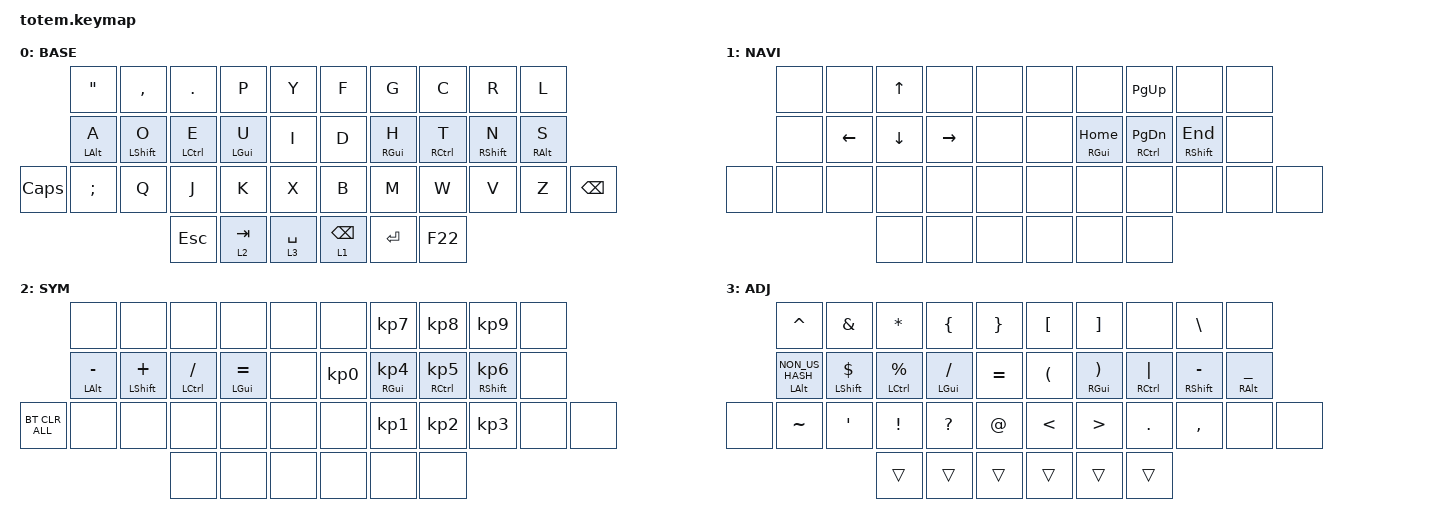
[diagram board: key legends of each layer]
//
//                                                        ▀▀▀▀▀     ▀▀▀▀▀          ▀▀█▀▀
//                                                        ▄▀▀▀▄  ▄  ▄▀▀▀▄  ▄  ▄▀▀▀▄  █  ▄▀▀▀▄
//                                                        █   █  █  █   █  █  █   █  █  █   █
//                                                         ▀▀▀   █   ▀▀▀   █   ▀▀▀   ▀   ▀▀▀
//                                                               █      ▄▄▄█▄▄▄    █   █  
//                                                               ▀      █  █  █     █▄█
//                                                             ▀▀▀▀▀    █  █  █      ▀
//                                                                      ▀  ▀  ▀
//
// ▄▄▄▄▄▄▄▄▄▄▄▄▄▄▄▄▄▄▄▄▄▄▄▄▄▄▄▄▄▄▄▄▄▄▄▄▄▄▄▄▄▄▄▄▄▄▄▄▄▄▄▄▄▄▄▄▄▄▄▄▄▄▄▄▄▄▄▄▄▄▄▄▄▄▄▄▄▄▄▄▄▄▄▄▄▄▄▄▄▄▄▄▄▄▄▄▄▄▄▄▄▄▄▄▄▄▄▄▄▄▄▄▄▄▄▄▄▄▄▄▄▄▄▄▄▄▄▄▄▄▄▄▄▄▄▄▄▄▄▄▄▄▄▄▄▄▄▄▄

#include <behaviors.dtsi>
#include <dt-bindings/zmk/bt.h>
#include <dt-bindings/zmk/keys.h>

#define BASE 0
#define NAV  1
#define SYM  2
#define ADJ  3

&mt {
    quick-tap-ms = <100>;
    global-quick-tap;
    flavor = "tap-preferred";
    tapping-term-ms = <170>;
};

/ {
    combos {
        compatible = "zmk,combos";

        combo_esc {
            timeout-ms = <50>;
            key-positions = <0 1>;
            bindings = <&kp ESC>;
        };
    };

    macros {
        gif: gif {
            label = "giphy";
            compatible = "zmk,behavior-macro";
            #binding-cells = <0>;
            bindings =
                <&macro_press>,
                <&kp LSHFT>,
                <&macro_tap>,
                <&kp N2>,
                <&macro_release>,
                <&kp LSHFT>,
                <&macro_tap>,
                <&kp G &kp I &kp F>;
        };
    };

    keymap {
        compatible = "zmk,keymap";

        // ▄▄▄▄▄▄▄▄▄▄▄▄▄▄▄▄▄▄▄▄▄▄▄▄▄▄▄▄▄▄▄▄▄▄▄▄▄▄▄▄▄▄▄▄▄▄▄▄▄▄▄▄▄▄▄▄▄▄▄▄▄▄▄▄▄▄▄▄▄▄▄▄▄▄▄▄▄▄▄▄▄▄▄▄▄▄▄▄▄▄▄▄▄▄▄▄▄▄▄▄▄▄▄▄▄▄▄▄▄▄▄▄▄▄▄▄▄▄▄▄▄▄▄▄▄▄▄▄▄▄▄▄▄▄▄▄▄▄▄▄▄▄▄▄▄▄▄▄▄

        base_layer {
            // ┏━━━━━━━━━━━━━━━━━━━━━━━━━━━━━━━━━━━━━━━┓

            label = "BASE";

            // ┗━━━━━━━━━━━━━━━━━━━━━━━━━━━━━━━━━━━━━━━┛
            //             ┏━━━━━━━━━━━┳━━━━━━━━━━━┳━━━━━━━━━━━┳━━━━━━━━━━━┳━━━━━━━━━━━┓   ┏━━━━━━━━━━━┳━━━━━━━━━━━┳━━━━━━━━━━━┳━━━━━━━━━━━┳━━━━━━━━━━━┓
            //             ┃     Q     ┃     W     ┃     F     ┃     P     ┃     G     ┃   ┃     J     ┃     L     ┃     U     ┃     Y     ┃     ;     ┃
            //             ┣━━━━━━━━━━━╋━━━━━━━━━━━╋━━━━━━━━━━━╋━━━━━━━━━━━╋━━━━━━━━━━━┫   ┣━━━━━━━━━━━╋━━━━━━━━━━━╋━━━━━━━━━━━╋━━━━━━━━━━━╋━━━━━━━━━━━┫
            //             ┃     A     ┃     R     ┃     S     ┃     T     ┃     D     ┃   ┃     H     ┃     N     ┃     E     ┃     I     ┃     O     ┃
            // ┏━━━━━━━━━━━╋━━━━━━━━━━━╋━━━━━━━━━━━╋━━━━━━━━━━━╋━━━━━━━━━━━╋━━━━━━━━━━━┫   ┣━━━━━━━━━━━╋━━━━━━━━━━━╋━━━━━━━━━━━╋━━━━━━━━━━━╋━━━━━━━━━━━╋━━━━━━━━━━━┓
            // ┃           ┃     Z     ┃     X     ┃     C     ┃     V     ┃     B     ┃   ┃     K     ┃     M     ┃     ,     ┃     .     ┃     /     ┃           ┃
            // ┗━━━━━━━━━━━┻━━━━━━━━━━━┻━━━━━━━━━━━╋━━━━━━━━━━━╋━━━━━━━━━━━╋━━━━━━━━━━━┫   ┣━━━━━━━━━━━╋━━━━━━━━━━━╋━━━━━━━━━━━╋━━━━━━━━━━━┻━━━━━━━━━━━┻━━━━━━━━━━━┛
            //                                     ┃           ┃    TAB    ┃    SPC    ┃   ┃   ENTER   ┃   BSPC    ┃           ┃
            //                                     ┗━━━━━━━━━━━┻━━━━━━━━━━━┻━━━━━━━━━━━┛   ┗━━━━━━━━━━━┻━━━━━━━━━━━┻━━━━━━━━━━━┛

            bindings = <
              &kp DOUBLE_QUOTES  &kp COMMA         &kp PERIOD   &kp P           &kp Y          &kp F            &kp G            &kp C        &kp R              &kp L
              &mt LALT A         &mt LEFT_SHIFT O  &mt LCTRL E  &mt LEFT_GUI U  &kp I          &kp D            &mt RIGHT_GUI H  &mt RCTRL T  &mt RIGHT_SHIFT N  &mt RIGHT_ALT S
&kp CAPSLOCK  &kp SEMICOLON      &kp Q             &kp J        &kp K           &kp X          &kp B            &kp M            &kp W        &kp V              &kp Z            &kp BACKSPACE
                                                   &kp ESCAPE   &lt 2 TAB       &lt 3 SPACE    &lt 1 BACKSPACE  &kp ENTER        &kp F22
            >;
        };

        // ▄▄▄▄▄▄▄▄▄▄▄▄▄▄▄▄▄▄▄▄▄▄▄▄▄▄▄▄▄▄▄▄▄▄▄▄▄▄▄▄▄▄▄▄▄▄▄▄▄▄▄▄▄▄▄▄▄▄▄▄▄▄▄▄▄▄▄▄▄▄▄▄▄▄▄▄▄▄▄▄▄▄▄▄▄▄▄▄▄▄▄▄▄▄▄▄▄▄▄▄▄▄▄▄▄▄▄▄▄▄▄▄▄▄▄▄▄▄▄▄▄▄▄▄▄▄▄▄▄▄▄▄▄▄▄▄▄▄▄▄▄▄▄▄▄▄▄▄▄

        nav_layer {
            // ┏━━━━━━━━━━━━━━━━━━━━━━━━━━━━━━━━━━━━━━━┓

            label = "NAVI";

            // ┗━━━━━━━━━━━━━━━━━━━━━━━━━━━━━━━━━━━━━━━┛
            //             ┏━━━━━━━━━━━┳━━━━━━━━━━━┳━━━━━━━━━━━┳━━━━━━━━━━━┳━━━━━━━━━━━┓   ┏━━━━━━━━━━━┳━━━━━━━━━━━┳━━━━━━━━━━━┳━━━━━━━━━━━┳━━━━━━━━━━━┓
            //             ┃           ┃           ┃     UP    ┃           ┃     {     ┃   ┃     }     ┃     7     ┃     8     ┃     9     ┃     +     ┃
            //             ┣━━━━━━━━━━━╋━━━━━━━━━━━╋━━━━━━━━━━━╋━━━━━━━━━━━╋━━━━━━━━━━━┫   ┣━━━━━━━━━━━╋━━━━━━━━━━━╋━━━━━━━━━━━╋━━━━━━━━━━━╋━━━━━━━━━━━┫
            //             ┃   SHIFT   ┃   LEFT    ┃    DOWN   ┃   RIGHT   ┃     [     ┃   ┃     ]     ┃     4     ┃     5     ┃     6     ┃     -     ┃
            // ┏━━━━━━━━━━━╋━━━━━━━━━━━╋━━━━━━━━━━━╋━━━━━━━━━━━╋━━━━━━━━━━━╋━━━━━━━━━━━┫   ┣━━━━━━━━━━━╋━━━━━━━━━━━╋━━━━━━━━━━━╋━━━━━━━━━━━╋━━━━━━━━━━━╋━━━━━━━━━━━┓
            // ┃           ┃           ┃   P UP    ┃  C LOCK   ┃  P DOWN   ┃     (     ┃   ┃     )     ┃     1     ┃     2     ┃     3     ┃     *     ┃           ┃
            // ┗━━━━━━━━━━━┻━━━━━━━━━━━┻━━━━━━━━━━━╋━━━━━━━━━━━╋━━━━━━━━━━━╋━━━━━━━━━━━┫   ┣━━━━━━━━━━━╋━━━━━━━━━━━╋━━━━━━━━━━━╋━━━━━━━━━━━┻━━━━━━━━━━━┻━━━━━━━━━━━┛
            //                                     ┃           ┃    TAB    ┃    SPC    ┃   ┃    DEL    ┃     0     ┃           ┃
            //                                     ┗━━━━━━━━━━━┻━━━━━━━━━━━┻━━━━━━━━━━━┛   ┗━━━━━━━━━━━┻━━━━━━━━━━━┻━━━━━━━━━━━┛

            bindings = <
       &none  &none     &kp UP    &none      &none    &none  &none               &kp PG_UP            &none                &none
       &none  &kp LEFT  &kp DOWN  &kp RIGHT  &none    &none  &mt RIGHT_GUI HOME  &mt RCTRL PAGE_DOWN  &mt RIGHT_SHIFT END  &none
&none  &none  &none     &none     &none      &none    &none  &none               &none                &none                &none  &none
                        &none     &none      &none    &none  &none               &none
            >;
        };

        // ▄▄▄▄▄▄▄▄▄▄▄▄▄▄▄▄▄▄▄▄▄▄▄▄▄▄▄▄▄▄▄▄▄▄▄▄▄▄▄▄▄▄▄▄▄▄▄▄▄▄▄▄▄▄▄▄▄▄▄▄▄▄▄▄▄▄▄▄▄▄▄▄▄▄▄▄▄▄▄▄▄▄▄▄▄▄▄▄▄▄▄▄▄▄▄▄▄▄▄▄▄▄▄▄▄▄▄▄▄▄▄▄▄▄▄▄▄▄▄▄▄▄▄▄▄▄▄▄▄▄▄▄▄▄▄▄▄▄▄▄▄▄▄▄▄▄▄▄▄

        num_layer {
            // ┏━━━━━━━━━━━━━━━━━━━━━━━━━━━━━━━━━━━━━━━┓

            label = "SYM";

            // ┗━━━━━━━━━━━━━━━━━━━━━━━━━━━━━━━━━━━━━━━┛
            //             ┏━━━━━━━━━━━┳━━━━━━━━━━━┳━━━━━━━━━━━┳━━━━━━━━━━━┳━━━━━━━━━━━┓   ┏━━━━━━━━━━━┳━━━━━━━━━━━┳━━━━━━━━━━━┳━━━━━━━━━━━┳━━━━━━━━━━━┓
            //             ┃     !     ┃     @     ┃     #     ┃     $     ┃     %     ┃   ┃     ˆ     ┃     &     ┃     Ü     ┃     '     ┃     "     ┃
            //             ┣━━━━━━━━━━━╋━━━━━━━━━━━╋━━━━━━━━━━━╋━━━━━━━━━━━╋━━━━━━━━━━━┫   ┣━━━━━━━━━━━╋━━━━━━━━━━━╋━━━━━━━━━━━╋━━━━━━━━━━━╋━━━━━━━━━━━┫
            //             ┃     Ä     ┃           ┃    SZ     ┃           ┃           ┃   ┃   MUTE    ┃   YEN     ┃   EURO    ┃  POUND    ┃     Ö     ┃
            // ┏━━━━━━━━━━━╋━━━━━━━━━━━╋━━━━━━━━━━━╋━━━━━━━━━━━╋━━━━━━━━━━━╋━━━━━━━━━━━┫   ┣━━━━━━━━━━━╋━━━━━━━━━━━╋━━━━━━━━━━━╋━━━━━━━━━━━╋━━━━━━━━━━━╋━━━━━━━━━━━┓
            // ┃           ┃  EMAIL1   ┃  EMAIL2   ┃           ┃           ┃           ┃   ┃   VOL-    ┃   VOL+    ┃   LAST    ┃   NEXT    ┃     \     ┃           ┃
            // ┗━━━━━━━━━━━┻━━━━━━━━━━━┻━━━━━━━━━━━╋━━━━━━━━━━━╋━━━━━━━━━━━╋━━━━━━━━━━━┫   ┣━━━━━━━━━━━╋━━━━━━━━━━━╋━━━━━━━━━━━╋━━━━━━━━━━━┻━━━━━━━━━━━┻━━━━━━━━━━━┛
            //                                     ┃           ┃    GIF    ┃    ADJ    ┃   ┃           ┃           ┃           ┃
            //                                     ┗━━━━━━━━━━━┻━━━━━━━━━━━┻━━━━━━━━━━━┛   ┗━━━━━━━━━━━┻━━━━━━━━━━━┻━━━━━━━━━━━┛

            bindings = <
                &none               &none                &none            &none               &none    &none            &kp KP_N7                  &kp KP_NUMBER_8        &kp KP_N9                    &none
                &mt LEFT_ALT MINUS  &mt LEFT_SHIFT PLUS  &mt LCTRL SLASH  &mt LEFT_GUI EQUAL  &none    &kp KP_NUMBER_0  &mt RIGHT_GUI KP_NUMBER_4  &mt RCTRL KP_NUMBER_5  &mt RIGHT_SHIFT KP_NUMBER_6  &none
&bt BT_CLR_ALL  &none               &none                &none            &none               &none    &none            &kp KP_NUMBER_1            &kp KP_NUMBER_2        &kp KP_NUMBER_3              &none  &none
                                                         &none            &none               &none    &none            &none                      &none
            >;
        };

        // ▄▄▄▄▄▄▄▄▄▄▄▄▄▄▄▄▄▄▄▄▄▄▄▄▄▄▄▄▄▄▄▄▄▄▄▄▄▄▄▄▄▄▄▄▄▄▄▄▄▄▄▄▄▄▄▄▄▄▄▄▄▄▄▄▄▄▄▄▄▄▄▄▄▄▄▄▄▄▄▄▄▄▄▄▄▄▄▄▄▄▄▄▄▄▄▄▄▄▄▄▄▄▄▄▄▄▄▄▄▄▄▄▄▄▄▄▄▄▄▄▄▄▄▄▄▄▄▄▄▄▄▄▄▄▄▄▄▄▄▄▄▄▄▄▄▄▄▄▄

        sym_layer {
            // ┏━━━━━━━━━━━━━━━━━━━━━━━━━━━━━━━━━━━━━━━┓

            label = "ADJ";

            // ┗━━━━━━━━━━━━━━━━━━━━━━━━━━━━━━━━━━━━━━━┛
            //             ┏━━━━━━━━━━━┳━━━━━━━━━━━┳━━━━━━━━━━━┳━━━━━━━━━━━┳━━━━━━━━━━━┓   ┏━━━━━━━━━━━┳━━━━━━━━━━━┳━━━━━━━━━━━┳━━━━━━━━━━━┳━━━━━━━━━━━┓
            //             ┃   RESET   ┃ BT CLEAR  ┃  OUT TOG  ┃           ┃           ┃   ┃           ┃    F7     ┃    F8     ┃    F9     ┃    F12    ┃
            //             ┣━━━━━━━━━━━╋━━━━━━━━━━━╋━━━━━━━━━━━╋━━━━━━━━━━━╋━━━━━━━━━━━┫   ┣━━━━━━━━━━━╋━━━━━━━━━━━╋━━━━━━━━━━━╋━━━━━━━━━━━╋━━━━━━━━━━━┫
            //             ┃ BOOTLOAD  ┃ BT NEXT   ┃           ┃           ┃           ┃   ┃           ┃    F4     ┃    F5     ┃    F6     ┃    F11    ┃
            // ┏━━━━━━━━━━━╋━━━━━━━━━━━╋━━━━━━━━━━━╋━━━━━━━━━━━╋━━━━━━━━━━━╋━━━━━━━━━━━┫   ┣━━━━━━━━━━━╋━━━━━━━━━━━╋━━━━━━━━━━━╋━━━━━━━━━━━╋━━━━━━━━━━━╋━━━━━━━━━━━┓
            // ┃           ┃           ┃ BT PREV   ┃           ┃           ┃           ┃   ┃           ┃    F1     ┃    F2     ┃    F3     ┃    F10    ┃           ┃
            // ┗━━━━━━━━━━━┻━━━━━━━━━━━┻━━━━━━━━━━━╋━━━━━━━━━━━╋━━━━━━━━━━━╋━━━━━━━━━━━┫   ┣━━━━━━━━━━━╋━━━━━━━━━━━╋━━━━━━━━━━━╋━━━━━━━━━━━┻━━━━━━━━━━━┻━━━━━━━━━━━┛
            //                                     ┃           ┃           ┃           ┃   ┃           ┃           ┃           ┃
            //                                     ┗━━━━━━━━━━━┻━━━━━━━━━━━┻━━━━━━━━━━━┛   ┗━━━━━━━━━━━┻━━━━━━━━━━━┻━━━━━━━━━━━┛

            bindings = <
       &kp CARET                 &kp AMPERSAND          &kp ASTERISK       &kp LEFT_BRACE      &kp RIGHT_BRACE    &kp LEFT_BRACKET      &kp RIGHT_BRACKET                &none           &kp BSLH               &none
       &mt LEFT_ALT NON_US_HASH  &mt LEFT_SHIFT DOLLAR  &mt LCTRL PERCENT  &mt LEFT_GUI SLASH  &kp EQUAL          &kp LEFT_PARENTHESIS  &mt RIGHT_GUI RIGHT_PARENTHESIS  &mt RCTRL PIPE  &mt RIGHT_SHIFT MINUS  &mt RIGHT_ALT UNDERSCORE
&none  &kp TILDE                 &kp SINGLE_QUOTE       &kp EXCLAMATION    &kp QUESTION        &kp AT             &kp LESS_THAN         &kp GREATER_THAN                 &kp PERIOD      &kp COMMA              &none                     &none
                                                        &trans             &trans              &trans             &trans                &trans                           &trans
            >;
        };
    };
};
